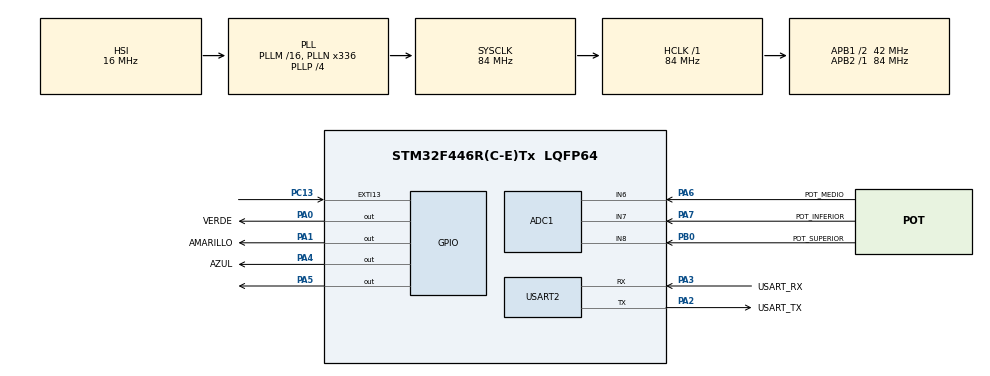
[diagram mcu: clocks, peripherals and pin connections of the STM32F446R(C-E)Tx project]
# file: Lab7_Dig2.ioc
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ADC1.Channel-0\#ChannelRegularConversion=ADC_CHANNEL_8
ADC1.Channel-1\#ChannelRegularConversion=ADC_CHANNEL_6
ADC1.Channel-2\#ChannelRegularConversion=ADC_CHANNEL_7
ADC1.ContinuousConvMode=ENABLE
ADC1.DMAContinuousRequests=ENABLE
ADC1.EOCSelection=ADC_EOC_SEQ_CONV
ADC1.NbrOfConversion=3
ADC1.NbrOfConversionFlag=1
ADC1.Rank-0\#ChannelRegularConversion=1
ADC1.Rank-1\#ChannelRegularConversion=2
ADC1.Rank-2\#ChannelRegularConversion=3
ADC1.SamplingTime-0\#ChannelRegularConversion=ADC_SAMPLETIME_84CYCLES
ADC1.SamplingTime-1\#ChannelRegularConversion=ADC_SAMPLETIME_84CYCLES
ADC1.SamplingTime-2\#ChannelRegularConversion=ADC_SAMPLETIME_84CYCLES
ADC1.ScanConvMode=ENABLE
ADC1.master=1
Dma.ADC1.0.Direction=DMA_PERIPH_TO_MEMORY
Dma.ADC1.0.FIFOMode=DMA_FIFOMODE_DISABLE
Dma.ADC1.0.Instance=DMA2_Stream0
Dma.ADC1.0.MemDataAlignment=DMA_MDATAALIGN_HALFWORD
Dma.ADC1.0.MemInc=DMA_MINC_ENABLE
Dma.ADC1.0.Mode=DMA_CIRCULAR
Dma.ADC1.0.PeriphDataAlignment=DMA_PDATAALIGN_HALFWORD
Dma.ADC1.0.PeriphInc=DMA_PINC_DISABLE
Dma.ADC1.0.Priority=DMA_PRIORITY_LOW
Dma.Request0=ADC1
Mcu.Family=STM32F4
Mcu.Name=STM32F446R(C-E)Tx
Mcu.Package=LQFP64
NUCLEO-F446RE.BUTTON=1
NUCLEO-F446RE.LD1=true
NVIC.DMA2_Stream0_IRQn=true\:0\:0\:false\:false\:true\:false\:true\:true
NVIC.EXTI15_10_IRQn=true\:0\:0\:false\:false\:true\:false\:true\:true
NVIC.PriorityGroup=NVIC_PRIORITYGROUP_0
PA0-WKUP.GPIO_Label=VERDE
PA0-WKUP.Signal=GPIO_Output
PA1.GPIO_Label=AMARILLO
PA1.Signal=GPIO_Output
PA13.GPIO_Label=TMS
PA13.Signal=SYS_JTMS-SWDIO
PA14.GPIO_Label=TCK
PA14.Signal=SYS_JTCK-SWCLK
PA2.GPIO_Label=USART_TX
PA2.Mode=Asynchronous
PA2.Signal=USART2_TX
PA3.GPIO_Label=USART_RX
PA3.Mode=Asynchronous
PA3.Signal=USART2_RX
PA4.GPIO_Label=AZUL
PA4.Signal=GPIO_Output
PA5.Signal=GPIO_Output
PA6.GPIO_Label=POT_MEDIO
PA6.Signal=ADCx_IN6
PA7.GPIO_Label=POT_INFERIOR
PA7.Signal=ADCx_IN7
PB0.GPIO_Label=POT_SUPERIOR
PB0.Signal=ADCx_IN8
PB3.GPIO_Label=SWO
PB3.Signal=SYS_JTDO-SWO
PC13.Signal=GPXTI13
PC14-OSC32_IN.Signal=RCC_OSC32_IN
PC15-OSC32_OUT.Signal=RCC_OSC32_OUT
PH0-OSC_IN.Signal=RCC_OSC_IN
PH1-OSC_OUT.Signal=RCC_OSC_OUT
ProjectManager.HeapSize=0x200
ProjectManager.StackSize=0x400
ProjectManager.TargetToolchain=STM32CubeIDE
RCC.AHBFreq_Value=84000000
RCC.APB1CLKDivider=RCC_HCLK_DIV2
RCC.APB1Freq_Value=42000000
RCC.APB1TimFreq_Value=84000000
RCC.APB2Freq_Value=84000000
RCC.APB2TimFreq_Value=84000000
RCC.CortexFreq_Value=84000000
RCC.FLatency-AdvancedSettings=FLASH_LATENCY_2
RCC.HCLKFreq_Value=84000000
RCC.HSE_VALUE=8000000
RCC.HSI_VALUE=16000000
RCC.LSE_VALUE=32768
RCC.PLLN=336
RCC.PLLP=RCC_PLLP_DIV4
RCC.SYSCLKFreq_VALUE=84000000
RCC.SYSCLKSource=RCC_SYSCLKSOURCE_PLLCLK
RCC.USBFreq_Value=168000000
RCC.VCOOutputFreq_Value=336000000
SH.ADCx_IN6.0=ADC1_IN6,IN6
SH.ADCx_IN7.0=ADC1_IN7,IN7
SH.ADCx_IN8.0=ADC1_IN8,IN8
USART2.VirtualMode=VM_ASYNC
VP_NUCLEO-F446RE_VS_BSP_COMMON.Mode=COMMON
board=NUCLEO-F446RE

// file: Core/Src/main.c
/* USER CODE BEGIN Header */
/**
  ******************************************************************************
  * @file           : main.c
  * @brief          : Main program body
  ******************************************************************************
  * @attention
  *
  * Copyright (c) 2026 STMicroelectronics.
  * All rights reserved.
  *
  * This software is licensed under terms that can be found in the LICENSE file
  * in the root directory of this software component.
  * If no LICENSE file comes with this software, it is provided AS-IS.
  *
  ******************************************************************************
  */
/* USER CODE END Header */
#include "main.h"

/* USER CODE BEGIN Includes */
#include <string.h> //permite trabajar con cadenas de caracteres
#include <stdio.h> //permite construir textos que incluyen numeros

/* USER CODE END Includes */

ADC_HandleTypeDef hadc1;
DMA_HandleTypeDef hdma_adc1;

UART_HandleTypeDef huart2;

/* USER CODE BEGIN PV */
volatile uint16_t adc_valores[3] = {0};
volatile uint16_t pot1 = 0;
volatile uint16_t pot2 = 0;
volatile uint16_t pot3 = 0;

volatile uint8_t SatOxi = 0;
volatile uint8_t Temp = 0;
volatile uint8_t Pulsos = 0;

/* USER CODE END PV */

void SystemClock_Config(void);
static void MX_GPIO_Init(void);
static void MX_DMA_Init(void);
static void MX_ADC1_Init(void);
static void MX_USART2_UART_Init(void);

/* USER CODE BEGIN 0 */
void UART_Print(char *texto)
{
    HAL_UART_Transmit(&huart2, (uint8_t *)texto, strlen(texto), HAL_MAX_DELAY);
}

// mapeo de la escala ADC a otra requerida
//
// x: el número que queremos traducir (la lectura del ADC)
// in_min: el valor más bajo que puede tener x (0)
// in_max: el valor más alto que puede tener x (4095)
// out_min: el valor más bajo que queremos de resultado
// out_max: el valor más alto que queremos de resultado
long map(long x, long in_min, long in_max, long out_min, long out_max)
{
    // 1. Calcula en qué punto del rango original está x
    // 2. Se ubica en ese mismo punto dentro del rango nuevo.
    return (x - in_min) * (out_max - out_min)
           / (in_max - in_min) + out_min;
}
/* USER CODE END 0 */

int main(void)
{

  /* MCU Configuration--------------------------------------------------------*/

  /* Reset of all peripherals, Initializes the Flash interface and the Systick. */
  HAL_Init();

  /* Configure the system clock */
  SystemClock_Config();

  /* Initialize all configured peripherals */
  MX_GPIO_Init();
  MX_DMA_Init();
  MX_ADC1_Init();
  MX_USART2_UART_Init();
  /* USER CODE BEGIN 2 */
  HAL_ADC_Start_DMA(&hadc1, (uint32_t *)adc_valores, 3);
  /* USER CODE END 2 */

  /* Initialize leds */
  BSP_LED_Init(LED2);

  /* Initialize USER push-button, will be used to trigger an interrupt each time it's pressed.*/
  BSP_PB_Init(BUTTON_USER, BUTTON_MODE_EXTI);

  /* Infinite loop */
  while (1)
  {

    /* USER CODE BEGIN 3 */

	  pot1 = adc_valores[0];
	  pot2 = adc_valores[1];
	  pot3 = adc_valores[2];
	  HAL_Delay(100);

	  SatOxi = map(adc_valores[0], 0, 4095, 0, 100);

	  Temp = map(adc_valores[1], 0, 4095, 34, 42);

	  Pulsos = map(adc_valores[2], 0, 4095, 40, 140);

	  char msg[64];

	  snprintf(msg, sizeof(msg),
	           "POT1: %u | POT2: %u | POT3: %u\r\n",
	           (unsigned)SatOxi,
	           (unsigned)Temp,
	           (unsigned)Pulsos);

	  UART_Print(msg);

	  HAL_Delay(200);

	  // Saturacion de oxigeno
	  if (SatOxi < 95)
	  {
	      HAL_GPIO_WritePin(GPIOA, VERDE_Pin, GPIO_PIN_SET);
	  }
	  else
	  {
	      HAL_GPIO_WritePin(GPIOA, VERDE_Pin, GPIO_PIN_RESET);
	  }

	  // Temperatura corporal
	  if (Temp < 36.0f || Temp > 37.5f)
	  {
	      HAL_GPIO_WritePin(GPIOA, AMARILLO_Pin, GPIO_PIN_SET);
	  }
	  else
	  {
	      HAL_GPIO_WritePin(GPIOA, AMARILLO_Pin, GPIO_PIN_RESET);
	  }

	  // Frecuencia cardiaca
	  if (Pulsos < 60 || Pulsos > 100)
	  {
	      HAL_GPIO_WritePin(GPIOA, AZUL_Pin, GPIO_PIN_SET);
	  }
	  else
	  {
	      HAL_GPIO_WritePin(GPIOA, AZUL_Pin, GPIO_PIN_RESET);
	  }
  }
  /* USER CODE END 3 */
}

void SystemClock_Config(void)
{
  RCC_OscInitTypeDef RCC_OscInitStruct = {0};
  RCC_ClkInitTypeDef RCC_ClkInitStruct = {0};

  /** Configure the main internal regulator output voltage
  */
  __HAL_RCC_PWR_CLK_ENABLE();
  __HAL_PWR_VOLTAGESCALING_CONFIG(PWR_REGULATOR_VOLTAGE_SCALE3);

  /** Initializes the RCC Oscillators according to the specified parameters
  * in the RCC_OscInitTypeDef structure.
  */
  RCC_OscInitStruct.OscillatorType = RCC_OSCILLATORTYPE_HSI;
  RCC_OscInitStruct.HSIState = RCC_HSI_ON;
  RCC_OscInitStruct.HSICalibrationValue = RCC_HSICALIBRATION_DEFAULT;
  RCC_OscInitStruct.PLL.PLLState = RCC_PLL_ON;
  RCC_OscInitStruct.PLL.PLLSource = RCC_PLLSOURCE_HSI;
  RCC_OscInitStruct.PLL.PLLM = 16;
  RCC_OscInitStruct.PLL.PLLN = 336;
  RCC_OscInitStruct.PLL.PLLP = RCC_PLLP_DIV4;
  RCC_OscInitStruct.PLL.PLLQ = 2;
  RCC_OscInitStruct.PLL.PLLR = 2;
  if (HAL_RCC_OscConfig(&RCC_OscInitStruct) != HAL_OK)
  {
    Error_Handler();
  }

  /** Initializes the CPU, AHB and APB buses clocks
  */
  RCC_ClkInitStruct.ClockType = RCC_CLOCKTYPE_HCLK|RCC_CLOCKTYPE_SYSCLK
                              |RCC_CLOCKTYPE_PCLK1|RCC_CLOCKTYPE_PCLK2;
  RCC_ClkInitStruct.SYSCLKSource = RCC_SYSCLKSOURCE_PLLCLK;
  RCC_ClkInitStruct.AHBCLKDivider = RCC_SYSCLK_DIV1;
  RCC_ClkInitStruct.APB1CLKDivider = RCC_HCLK_DIV2;
  RCC_ClkInitStruct.APB2CLKDivider = RCC_HCLK_DIV1;

  if (HAL_RCC_ClockConfig(&RCC_ClkInitStruct, FLASH_LATENCY_2) != HAL_OK)
  {
    Error_Handler();
  }
}

static void MX_ADC1_Init(void)
{

  ADC_ChannelConfTypeDef sConfig = {0};

  /** Configure the global features of the ADC (Clock, Resolution, Data Alignment and number of conversion)
  */
  hadc1.Instance = ADC1;
  hadc1.Init.ClockPrescaler = ADC_CLOCK_SYNC_PCLK_DIV4;
  hadc1.Init.Resolution = ADC_RESOLUTION_12B;
  hadc1.Init.ScanConvMode = ENABLE;
  hadc1.Init.ContinuousConvMode = ENABLE;
  hadc1.Init.DiscontinuousConvMode = DISABLE;
  hadc1.Init.ExternalTrigConvEdge = ADC_EXTERNALTRIGCONVEDGE_NONE;
  hadc1.Init.ExternalTrigConv = ADC_SOFTWARE_START;
  hadc1.Init.DataAlign = ADC_DATAALIGN_RIGHT;
  hadc1.Init.NbrOfConversion = 3;
  hadc1.Init.DMAContinuousRequests = ENABLE;
  hadc1.Init.EOCSelection = ADC_EOC_SEQ_CONV;
  if (HAL_ADC_Init(&hadc1) != HAL_OK)
  {
    Error_Handler();
  }

  /** Configure for the selected ADC regular channel its corresponding rank in the sequencer and its sample time.
  */
  sConfig.Channel = ADC_CHANNEL_8;
  sConfig.Rank = 1;
  sConfig.SamplingTime = ADC_SAMPLETIME_84CYCLES;
  if (HAL_ADC_ConfigChannel(&hadc1, &sConfig) != HAL_OK)
  {
    Error_Handler();
  }

  /** Configure for the selected ADC regular channel its corresponding rank in the sequencer and its sample time.
  */
  sConfig.Channel = ADC_CHANNEL_6;
  sConfig.Rank = 2;
  if (HAL_ADC_ConfigChannel(&hadc1, &sConfig) != HAL_OK)
  {
    Error_Handler();
  }

  /** Configure for the selected ADC regular channel its corresponding rank in the sequencer and its sample time.
  */
  sConfig.Channel = ADC_CHANNEL_7;
  sConfig.Rank = 3;
  if (HAL_ADC_ConfigChannel(&hadc1, &sConfig) != HAL_OK)
  {
    Error_Handler();
  }

}

static void MX_USART2_UART_Init(void)
{

  huart2.Instance = USART2;
  huart2.Init.BaudRate = 115200;
  huart2.Init.WordLength = UART_WORDLENGTH_8B;
  huart2.Init.StopBits = UART_STOPBITS_1;
  huart2.Init.Parity = UART_PARITY_NONE;
  huart2.Init.Mode = UART_MODE_TX_RX;
  huart2.Init.HwFlowCtl = UART_HWCONTROL_NONE;
  huart2.Init.OverSampling = UART_OVERSAMPLING_16;
  if (HAL_UART_Init(&huart2) != HAL_OK)
  {
    Error_Handler();
  }

}

static void MX_DMA_Init(void)
{

  /* DMA controller clock enable */
  __HAL_RCC_DMA2_CLK_ENABLE();

  /* DMA interrupt init */
  /* DMA2_Stream0_IRQn interrupt configuration */
  HAL_NVIC_SetPriority(DMA2_Stream0_IRQn, 0, 0);
  HAL_NVIC_EnableIRQ(DMA2_Stream0_IRQn);

}

static void MX_GPIO_Init(void)
{
  GPIO_InitTypeDef GPIO_InitStruct = {0};

  /* GPIO Ports Clock Enable */
  __HAL_RCC_GPIOC_CLK_ENABLE();
  __HAL_RCC_GPIOH_CLK_ENABLE();
  __HAL_RCC_GPIOA_CLK_ENABLE();
  __HAL_RCC_GPIOB_CLK_ENABLE();

  /*Configure GPIO pin Output Level */
  HAL_GPIO_WritePin(GPIOA, VERDE_Pin|AMARILLO_Pin|AZUL_Pin, GPIO_PIN_RESET);

  /*Configure GPIO pins : VERDE_Pin AMARILLO_Pin AZUL_Pin */
  GPIO_InitStruct.Pin = VERDE_Pin|AMARILLO_Pin|AZUL_Pin;
  GPIO_InitStruct.Mode = GPIO_MODE_OUTPUT_PP;
  GPIO_InitStruct.Pull = GPIO_NOPULL;
  GPIO_InitStruct.Speed = GPIO_SPEED_FREQ_LOW;
  HAL_GPIO_Init(GPIOA, &GPIO_InitStruct);

}

void Error_Handler(void)
{
  __disable_irq();
  while (1)
  {
  }
}
